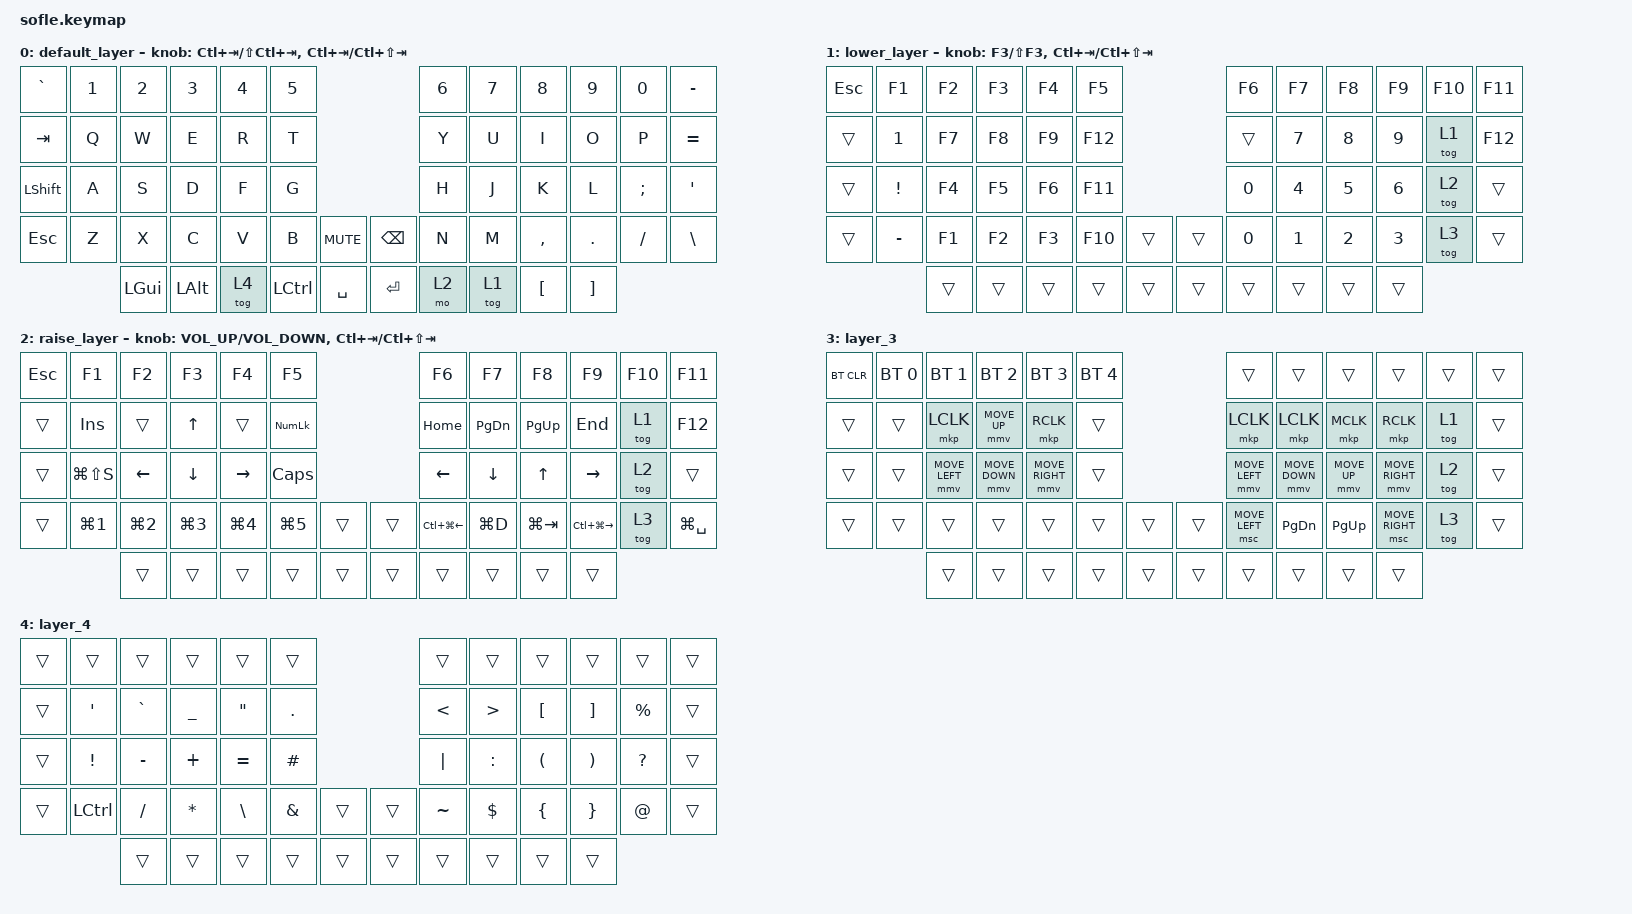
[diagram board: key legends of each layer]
/*
 * Copyright (c) 2020 The ZMK Contributors
 *
 * SPDX-License-Identifier: MIT
 */

#include <dt-bindings/zmk/mouse.h>
#include <behaviors.dtsi>
#include <dt-bindings/zmk/bt.h>
#include <dt-bindings/zmk/keys.h>
#include <dt-bindings/zmk/pointing.h>
#include <dt-bindings/zmk/pointing.h>
#include <dt-bindings/zmk/pointing.h>

/ {
    keymap {
        compatible = "zmk,keymap";

        default_layer {
            // ------------------------------------------------------------------------------------------------------------
            // |  `    |  1  |  2  |  3   |  4   |  5   |                         |  6   |  7    |  8    |  9   |   0   |       |
            // |  ESC  |  Q  |  W  |  E   |  R   |  T   |                         |  Y   |  U    |  I    |  O   |   P   | BKSPC |
            // |  TAB  |  A  |  S  |  D   |  F   |  G   |                         |  H   |  J    |  K    |  L   |   ;   |   '   |
            // | SHIFT |  Z  |  X  |  C   |  V   |  B   |  MUTE  |        | ExtPw |  N   |  M    |  ,    |  .   |   /   | SHIFT |
            //               | GUI | ALT  | CTRL | LOWER|  ENTER |        | SPACE | RAISE| CTRL  | ALT   | GUI  |

            bindings = <
&kp GRAVE       &kp N1  &kp N2    &kp N3    &kp N4  &kp N5                                  &kp N6  &kp N7  &kp N8            &kp N9             &kp N0    &kp MINUS
&kp TAB         &kp Q   &kp W     &kp E     &kp R   &kp T                                   &kp Y   &kp U   &kp I             &kp O              &kp P     &kp EQUAL
&kp LEFT_SHIFT  &kp A   &kp S     &kp D     &kp F   &kp G                                   &kp H   &kp J   &kp K             &kp L              &kp SEMI  &kp SQT
&kp ESCAPE      &kp Z   &kp X     &kp C     &kp V   &kp B      &kp C_MUTE    &kp BACKSPACE  &kp N   &kp M   &kp COMMA         &kp DOT            &kp FSLH  &kp BACKSLASH
                        &kp LGUI  &kp LALT  &tog 4  &kp LCTRL  &kp SPACE     &kp ENTER      &mo 2   &tog 1  &kp LEFT_BRACKET  &kp RIGHT_BRACKET
            >;

            sensor-bindings =
                <&inc_dec_kp LC(TAB) LS(LC(TAB))>,
                <&inc_dec_kp LC(TAB) LC(LS(TAB))>;
        };

        lower_layer {
            // TODO: Some binds are waiting for shifted keycode support.
            // ------------------------------------------------------------------------------------------------------------
            // |       |  F1 |  F2 |  F3  |  F4  |  F5  |                   |  F6  |  F7   |  F8   |  F9  |  F10  |  F11  |
            // | `     |   1 |   2 |   3  |   4  |   5  |                   |   6  |   7   |   8   |   9  |    0  |  F12  |
            // |       |  !  |  @  |  #   |  $   |  %   |                   |  ^   |  &    |  *    |  (   |   )   |   |   |
            // |       |  =  |  -  |  +   |  {   |  }   |        |  |       |  [   |  ]    |  ;    |  :   |   \   |       |
            //               |     |      |      |      |        |  |       |      |       |       |      |

            bindings = <
&kp ESCAPE  &kp F1     &kp F2  &kp F3  &kp F4  &kp F5                     &kp F6  &kp F7  &kp F8  &kp F9  &kp F10  &kp F11
&trans      &kp N1     &kp F7  &kp F8  &kp F9  &kp F12                    &trans  &kp N7  &kp N8  &kp N9  &tog 1   &kp F12
&trans      &kp EXCL   &kp F4  &kp F5  &kp F6  &kp F11                    &kp N0  &kp N4  &kp N5  &kp N6  &tog 2   &trans
&trans      &kp MINUS  &kp F1  &kp F2  &kp F3  &kp F10  &trans    &trans  &kp N0  &kp N1  &kp N2  &kp N3  &tog 3   &trans
                       &trans  &trans  &trans  &trans   &trans    &trans  &trans  &trans  &trans  &trans
            >;

            sensor-bindings =
                <&inc_dec_kp F3 LS(F3)>,
                <&inc_dec_kp LC(TAB) LC(LS(TAB))>;
        };

        raise_layer {
            // ------------------------------------------------------------------------------------------------------------
            // |BTCLR| BT1  | BT2  |  BT3  |  BT4  |  BT5 |                |      |      |       |      |       |       |
            // |     | INS  | PSCR | GUI   |       |      |                | PGUP |      |   ^   |      |       |       |
            // |     | ALT  | CTRL | SHIFT |       | CAPS |                | PGDN |   <- |   v   |  ->  |  DEL  | BKSPC |
            // |     | UNDO | CUT  | COPY  | PASTE |      |      |  |      |      |      |       |      |       |       |
            //              |      |       |       |      |      |  |      |      |      |       |      |

            bindings = <
&kp ESC  &kp F1            &kp F2            &kp F3            &kp F4            &kp F5                            &kp F6            &kp F7         &kp F8       &kp F9             &kp F10  &kp F11
&trans   &kp INS           &trans            &kp UP            &trans            &kp KP_NUMLOCK                    &kp HOME          &kp PAGE_DOWN  &kp PAGE_UP  &kp END            &tog 1   &kp F12
&trans   &kp LG(LS(S))     &kp LEFT          &kp DOWN          &kp RIGHT         &kp CLCK                          &kp LEFT          &kp DOWN       &kp UP       &kp RIGHT          &tog 2   &trans
&trans   &kp LG(NUMBER_1)  &kp LG(NUMBER_2)  &kp LG(NUMBER_3)  &kp LG(NUMBER_4)  &kp LG(N5)      &trans    &trans  &kp LC(LG(LEFT))  &kp LG(D)      &kp LG(TAB)  &kp LC(LG(RIGHT))  &tog 3   &kp LG(SPACE)
                           &trans            &trans            &trans            &trans          &trans    &trans  &trans            &trans         &trans       &trans
            >;

            sensor-bindings =
                <&inc_dec_kp C_VOLUME_UP C_VOLUME_DOWN>,
                <&inc_dec_kp LC(TAB) LC(LS(TAB))>;
        };

        layer_3 {
            bindings = <
&bt BT_CLR  &bt BT_SEL 0  &bt BT_SEL 1    &bt BT_SEL 2    &bt BT_SEL 3     &bt BT_SEL 4                    &trans          &trans          &trans        &trans           &trans  &trans
&trans      &trans        &mkp LCLK       &mmv MOVE_UP    &mkp RCLK        &trans                          &mkp LCLK       &mkp LCLK       &mkp MCLK     &mkp RCLK        &tog 1  &trans
&trans      &trans        &mmv MOVE_LEFT  &mmv MOVE_DOWN  &mmv MOVE_RIGHT  &trans                          &mmv MOVE_LEFT  &mmv MOVE_DOWN  &mmv MOVE_UP  &mmv MOVE_RIGHT  &tog 2  &trans
&trans      &trans        &trans          &trans          &trans           &trans        &trans    &trans  &msc MOVE_LEFT  &kp PAGE_DOWN   &kp PAGE_UP   &msc MOVE_RIGHT  &tog 3  &trans
                          &trans          &trans          &trans           &trans        &trans    &trans  &trans          &trans          &trans        &trans
            >;
        };

        layer_4 {
            bindings = <
&trans  &trans     &trans     &trans          &trans     &trans                      &trans     &trans     &trans    &trans    &trans     &trans
&trans  &kp SQT    &kp GRAVE  &kp UNDERSCORE  &kp DQT    &kp DOT                     &kp LT     &kp GT     &kp LBKT  &kp RBKT  &kp PRCNT  &trans
&trans  &kp EXCL   &kp MINUS  &kp PLUS        &kp EQUAL  &kp HASH                    &kp PIPE   &kp COLON  &kp LPAR  &kp RPAR  &kp QMARK  &trans
&trans  &kp LCTRL  &kp SLASH  &kp ASTERISK    &kp BSLH   &kp AMPS  &trans    &trans  &kp TILDE  &kp DLLR   &kp LBRC  &kp RBRC  &kp AT     &trans
                   &trans     &trans          &trans     &trans    &trans    &trans  &trans     &trans     &trans    &trans
            >;
        };
    };
};
